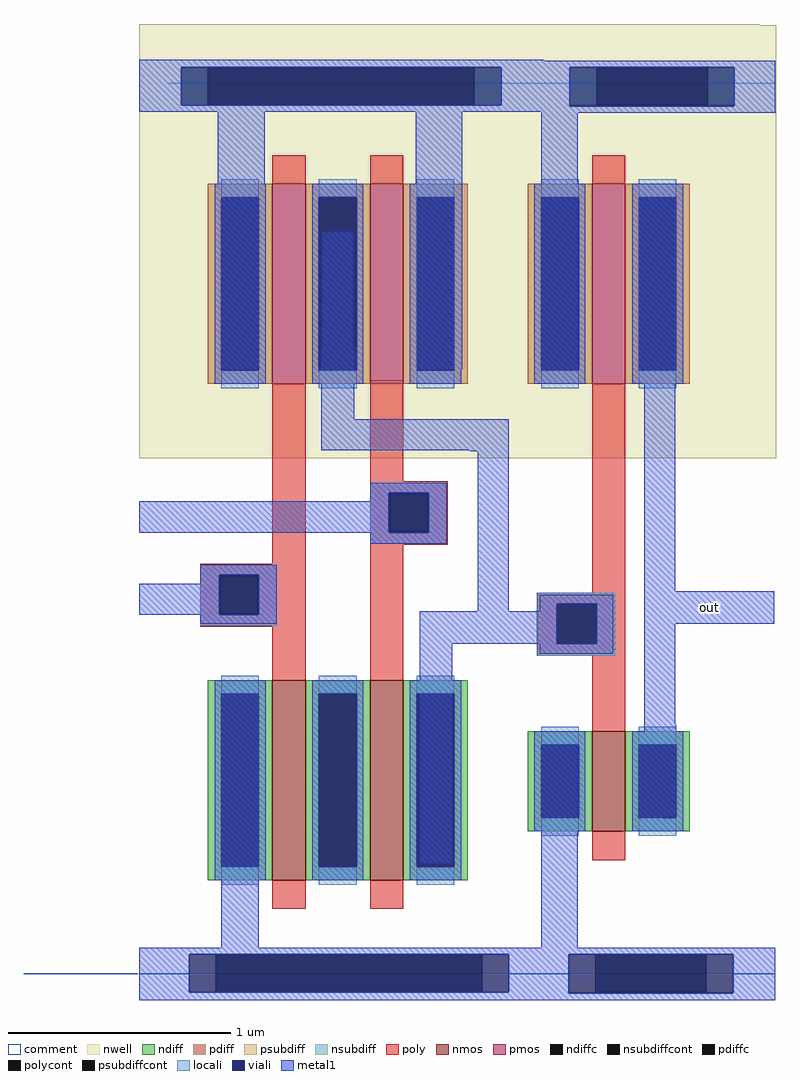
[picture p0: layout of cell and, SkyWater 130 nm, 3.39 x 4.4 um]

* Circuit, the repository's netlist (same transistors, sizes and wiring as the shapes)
* NGSPICE file created from and.ext - technology: sky130A

.subckt sky130_fd_pr__pfet_01v8_5AYHFE VSUBS a_n15_n116# a_n73_n90# w_n109_n152# a_15_n90#
X0 a_15_n90# a_n15_n116# a_n73_n90# w_n109_n152# sky130_fd_pr__pfet_01v8 ad=2.61e+11p pd=2.38e+06u as=2.61e+11p ps=2.38e+06u w=900000u l=150000u
.ends

.subckt sky130_fd_pr__nfet_01v8_J836M4 VSUBS a_n73_n45# a_n15_n71# a_15_n45#
X0 a_15_n45# a_n15_n71# a_n73_n45# VSUBS sky130_fd_pr__nfet_01v8 ad=1.305e+11p pd=1.48e+06u as=1.305e+11p ps=1.48e+06u w=450000u l=150000u
.ends

.subckt sky130_fd_pr__nfet_01v8_P8KVP3 VSUBS a_n15_n116# a_n73_n90# a_15_n90#
X0 a_15_n90# a_n15_n116# a_n73_n90# VSUBS sky130_fd_pr__nfet_01v8 ad=2.61e+11p pd=2.38e+06u as=2.61e+11p ps=2.38e+06u w=900000u l=150000u
.ends

.subckt nand m1_n361_477# vss vdd
Xsky130_fd_pr__nfet_01v8_P8KVP3_0 vss A vss sky130_fd_pr__nfet_01v8_P8KVP3_0/a_15_n90#
+ sky130_fd_pr__nfet_01v8_P8KVP3
Xsky130_fd_pr__nfet_01v8_P8KVP3_1 vss B sky130_fd_pr__nfet_01v8_P8KVP3_0/a_15_n90#
+ m1_n361_477# sky130_fd_pr__nfet_01v8_P8KVP3
Xsky130_fd_pr__pfet_01v8_5AYHFE_0 vss A vdd vdd m1_n361_477# sky130_fd_pr__pfet_01v8_5AYHFE
Xsky130_fd_pr__pfet_01v8_5AYHFE_1 vss B m1_n361_477# vdd vdd sky130_fd_pr__pfet_01v8_5AYHFE
.ends


* Top level circuit and

Xsky130_fd_pr__pfet_01v8_5AYHFE_0 nand_0/vss a_463_314# nand_0/vdd nand_0/vdd out
+ sky130_fd_pr__pfet_01v8_5AYHFE
Xsky130_fd_pr__nfet_01v8_J836M4_0 nand_0/vss nand_0/vss a_463_314# out sky130_fd_pr__nfet_01v8_J836M4
Xnand_0 a_463_314# nand_0/vss nand_0/vdd nand
.end

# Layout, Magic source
magic
tech sky130A
magscale 1 2
<< nwell >>
rect 469 882 663 883
rect 469 571 678 882
rect 469 497 554 571
rect 559 497 678 571
rect 469 493 678 497
rect 468 492 678 493
<< psubdiff >>
rect 491 11 515 45
rect 615 11 639 45
<< nsubdiff >>
rect 492 810 516 844
rect 616 810 640 844
<< psubdiffcont >>
rect 515 11 615 45
<< nsubdiffcont >>
rect 516 810 616 844
<< poly >>
rect 512 371 542 533
rect 463 361 542 371
rect 463 325 480 361
rect 516 325 542 361
rect 463 314 542 325
rect 512 272 542 314
<< polycont >>
rect 480 325 516 361
<< locali >>
rect 462 361 533 371
rect 462 325 480 361
rect 516 325 533 361
rect 462 314 533 325
<< viali >>
rect 492 810 516 844
rect 516 810 616 844
rect 616 810 640 844
rect 492 809 640 810
rect 480 325 516 361
rect 491 11 515 45
rect 515 11 615 45
rect 615 11 639 45
rect 491 10 639 11
<< metal1 >>
rect 469 845 677 850
rect 466 844 677 845
rect 466 809 492 844
rect 640 809 677 844
rect 466 803 677 809
rect 466 571 499 803
rect 554 570 588 727
rect 559 569 588 570
rect 559 372 587 569
rect 465 361 531 369
rect 465 354 480 361
rect 462 325 480 354
rect 516 325 531 361
rect 465 316 531 325
rect 559 343 676 372
rect 559 252 587 343
rect 559 234 588 252
rect 466 51 499 234
rect 554 169 588 234
rect 554 168 575 169
rect 466 45 677 51
rect 466 10 491 45
rect 639 10 677 45
rect 466 4 677 10
<< comment >>
rect 449 829 678 830
rect 448 27 677 28
use sky130_fd_pr__nfet_01v8_J836M4  sky130_fd_pr__nfet_01v8_J836M4_0
transform 1 0 527 0 1 201
box -73 -71 73 71
use sky130_fd_pr__pfet_01v8_5AYHFE  sky130_fd_pr__pfet_01v8_5AYHFE_0 ~/eamta2021/mag/nand
transform 1 0 527 0 1 649
box -109 -152 109 152
use nand  nand_0 ~/eamta2021/mag/nand
transform 1 0 629 0 1 22
box -629 -18 8 861
<< labels >>
rlabel metal1 559 343 676 372 1 out
<< end >>

# cell sky130_fd_pr__nfet_01v8_J836M4: kit device sky130_fd_pr__nfet_01v8, w 0.45 l 0.150 m 1 nf 1 diffcov 100 polycov 100 guard 0 glc 0 grc 0 gtc 0 gbc 0 tbcov 100 rlcov 100 topc 0 botc 0 poverlap 0 doverlap 1 lmin 0.15 wmin 0.42 compatible {sky130_fd_pr__nfet_01v8 sky130_fd_pr__nfet_01v8_lvt sky130_fd_bs_flash__special_sonosfet_star sky130_fd_pr__nfet_g5v0d10v5 sky130_fd_pr__nfet_05v0_nvt} full_metal 0 viasrc 100 viadrn 100 viagate 100 viagb 0 viagr 0 viagl 0 viagt 0

# cell sky130_fd_pr__pfet_01v8_5AYHFE: kit device sky130_fd_pr__pfet_01v8, w 0.9 l 0.15 m 1 nf 1 diffcov 100 polycov 100 guard 0 glc 0 grc 0 gtc 0 gbc 0 tbcov 100 rlcov 100 topc 0 botc 0 poverlap 0 doverlap 1 lmin 0.15 wmin 0.42 compatible {sky130_fd_pr__pfet_01v8 sky130_fd_pr__pfet_01v8_lvt sky130_fd_pr__pfet_01v8_hvt sky130_fd_pr__pfet_g5v0d10v5} full_metal 0 viasrc 100 viadrn 100 viagate 100 viagb 0 viagr 0 viagl 0 viagt 0

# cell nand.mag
magic
tech sky130A
magscale 1 2
<< nwell >>
rect -525 517 -160 861
rect -525 485 -405 517
rect -374 485 -160 517
rect -525 484 -493 485
rect -366 484 -160 485
rect -525 476 -160 484
rect -525 475 -227 476
rect -220 475 -160 476
rect -525 470 -160 475
<< psubdiff >>
rect -480 -11 -456 23
rect -216 -11 -192 23
<< nsubdiff >>
rect -487 788 -463 822
rect -223 788 -199 822
<< psubdiffcont >>
rect -456 -11 -216 23
<< nsubdiffcont >>
rect -463 788 -223 822
<< poly >>
rect -405 375 -375 513
rect -470 364 -375 375
rect -470 330 -452 364
rect -418 330 -375 364
rect -470 318 -375 330
rect -405 295 -375 318
rect -317 449 -287 540
rect -317 438 -247 449
rect -317 404 -299 438
rect -265 404 -247 438
rect -317 392 -247 404
rect -317 284 -287 392
<< polycont >>
rect -452 330 -418 364
rect -299 404 -265 438
<< locali >>
rect -317 439 -248 448
rect -317 403 -300 439
rect -264 403 -248 439
rect -317 393 -248 403
rect -470 365 -401 374
rect -470 329 -453 365
rect -417 329 -401 365
rect -470 319 -401 329
<< viali >>
rect -487 788 -463 822
rect -463 788 -223 822
rect -223 788 -199 822
rect -300 438 -264 439
rect -300 404 -299 438
rect -299 404 -265 438
rect -265 404 -264 438
rect -300 403 -264 404
rect -453 364 -417 365
rect -453 330 -452 364
rect -452 330 -418 364
rect -418 330 -417 364
rect -453 329 -417 330
rect -480 -11 -456 23
rect -456 -11 -216 23
rect -216 -11 -192 23
<< metal1 >>
rect -525 822 -160 829
rect -525 788 -487 822
rect -199 788 -160 822
rect -525 782 -160 788
rect -454 550 -412 782
rect -360 570 -332 674
rect -361 505 -331 570
rect -276 550 -234 782
rect -361 477 -192 505
rect -227 476 -192 477
rect -317 439 -248 448
rect -317 431 -300 439
rect -525 403 -300 431
rect -264 403 -248 439
rect -317 393 -248 403
rect -470 365 -401 374
rect -470 357 -453 365
rect -525 329 -453 357
rect -417 329 -401 365
rect -220 332 -192 476
rect -470 321 -401 329
rect -272 303 -160 332
rect -451 29 -417 258
rect -272 105 -243 303
rect -525 23 -160 29
rect -525 -11 -480 23
rect -192 -11 -160 23
rect -525 -18 -160 -11
<< comment >>
rect -499 807 -1 808
rect -629 5 -526 6
rect -525 5 -160 6
rect -159 5 8 6
use sky130_fd_pr__nfet_01v8_P8KVP3  sky130_fd_pr__nfet_01v8_P8KVP3_0
transform 1 0 -390 0 1 180
box -73 -116 73 116
use sky130_fd_pr__nfet_01v8_P8KVP3  sky130_fd_pr__nfet_01v8_P8KVP3_1
transform 1 0 -302 0 1 180
box -73 -116 73 116
use sky130_fd_pr__pfet_01v8_5AYHFE  sky130_fd_pr__pfet_01v8_5AYHFE_0
transform 1 0 -390 0 1 627
box -109 -152 109 152
use sky130_fd_pr__pfet_01v8_5AYHFE  sky130_fd_pr__pfet_01v8_5AYHFE_1
transform 1 0 -302 0 1 627
box -109 -152 109 152
<< labels >>
rlabel metal1 -525 329 -453 357 1 A
rlabel metal1 -525 403 -300 431 1 B
rlabel nwell -463 788 -223 822 1 vdd
rlabel metal1 -456 -11 -216 23 1 vss
<< end >>

# cell sky130_fd_pr__nfet_01v8_P8KVP3: kit device sky130_fd_pr__nfet_01v8, w 0.9 l 0.150 m 1 nf 1 diffcov 100 polycov 100 guard 0 glc 0 grc 0 gtc 0 gbc 0 tbcov 100 rlcov 100 topc 0 botc 0 poverlap 0 doverlap 1 lmin 0.15 wmin 0.42 compatible {sky130_fd_pr__nfet_01v8 sky130_fd_pr__nfet_01v8_lvt sky130_fd_bs_flash__special_sonosfet_star sky130_fd_pr__nfet_g5v0d10v5 sky130_fd_pr__nfet_05v0_nvt} full_metal 0 viasrc 100 viadrn 100 viagate 100 viagb 0 viagr 0 viagl 0 viagt 0
